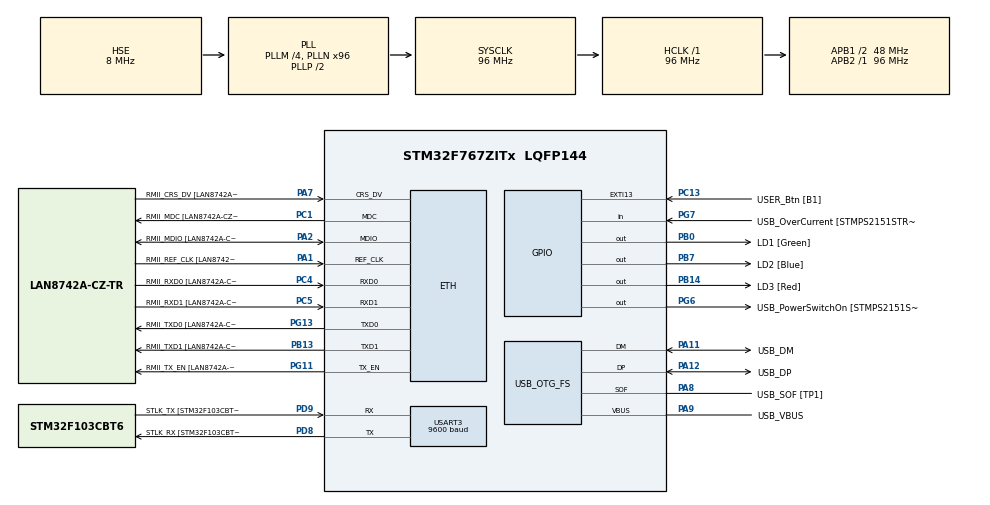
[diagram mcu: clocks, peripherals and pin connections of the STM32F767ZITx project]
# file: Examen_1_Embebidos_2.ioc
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ETH.MediaInterface=HAL_ETH_RMII_MODE
ETH.PHY_Name=LAN8742A_PHY_ADDRESS
ETH.PHY_Value=0
ETH.PhyAddress=0
Mcu.Family=STM32F7
Mcu.Name=STM32F767ZITx
Mcu.Package=LQFP144
NVIC.PriorityGroup=NVIC_PRIORITYGROUP_4
PA1.GPIO_Label=RMII_REF_CLK [LAN8742A-CZ-TR_REFCLK0]
PA1.Mode=RMII
PA1.Signal=ETH_REF_CLK
PA10.GPIO_Label=USB_ID
PA10.Signal=USB_OTG_FS_ID
PA11.GPIO_Label=USB_DM
PA11.Mode=Device_Only
PA11.Signal=USB_OTG_FS_DM
PA12.GPIO_Label=USB_DP
PA12.Mode=Device_Only
PA12.Signal=USB_OTG_FS_DP
PA13.GPIO_Label=TMS
PA13.Mode=Serial_Wire
PA13.Signal=SYS_JTMS-SWDIO
PA14.GPIO_Label=TCK
PA14.Mode=Serial_Wire
PA14.Signal=SYS_JTCK-SWCLK
PA2.GPIO_Label=RMII_MDIO [LAN8742A-CZ-TR_MDIO]
PA2.Mode=RMII
PA2.Signal=ETH_MDIO
PA7.GPIO_Label=RMII_CRS_DV [LAN8742A-CZ-TR_CRS_DV]
PA7.Mode=RMII
PA7.Signal=ETH_CRS_DV
PA8.GPIO_Label=USB_SOF [TP1]
PA8.Mode=Activate_SOF_FS
PA8.Signal=USB_OTG_FS_SOF
PA9.GPIO_Label=USB_VBUS
PA9.Mode=Activate_VBUS
PA9.Signal=USB_OTG_FS_VBUS
PB0.GPIO_Label=LD1 [Green]
PB0.Signal=GPIO_Output
PB13.GPIO_Label=RMII_TXD1 [LAN8742A-CZ-TR_TXD1]
PB13.Mode=RMII
PB13.Signal=ETH_TXD1
PB14.GPIO_Label=LD3 [Red]
PB14.Signal=GPIO_Output
PB3.GPIO_Label=SWO
PB3.Signal=SYS_JTDO-SWO
PB7.GPIO_Label=LD2 [Blue]
PB7.Signal=GPIO_Output
PC1.GPIO_Label=RMII_MDC [LAN8742A-CZ-TR_MDC]
PC1.Mode=RMII
PC1.Signal=ETH_MDC
PC13.GPIO_Label=USER_Btn [B1]
PC13.Signal=GPXTI13
PC14/OSC32_IN.Mode=LSE-External-Oscillator
PC14/OSC32_IN.Signal=RCC_OSC32_IN
PC15/OSC32_OUT.Mode=LSE-External-Oscillator
PC15/OSC32_OUT.Signal=RCC_OSC32_OUT
PC4.GPIO_Label=RMII_RXD0 [LAN8742A-CZ-TR_RXD0]
PC4.Mode=RMII
PC4.Signal=ETH_RXD0
PC5.GPIO_Label=RMII_RXD1 [LAN8742A-CZ-TR_RXD1]
PC5.Mode=RMII
PC5.Signal=ETH_RXD1
PD8.GPIO_Label=STLK_RX [STM32F103CBT6_PA3]
PD8.Mode=Asynchronous
PD8.Signal=USART3_TX
PD9.GPIO_Label=STLK_TX [STM32F103CBT6_PA2]
PD9.Mode=Asynchronous
PD9.Signal=USART3_RX
PG11.GPIO_Label=RMII_TX_EN [LAN8742A-CZ-TR_TXEN]
PG11.Mode=RMII
PG11.Signal=ETH_TX_EN
PG13.GPIO_Label=RMII_TXD0 [LAN8742A-CZ-TR_TXD0]
PG13.Mode=RMII
PG13.Signal=ETH_TXD0
PG6.GPIO_Label=USB_PowerSwitchOn [STMPS2151STR_EN]
PG6.Signal=GPIO_Output
PG7.GPIO_Label=USB_OverCurrent [STMPS2151STR_FAULT]
PG7.Signal=GPIO_Input
PH0/OSC_IN.GPIO_Label=MCO [STM32F103CBT6_PA8]
PH0/OSC_IN.Mode=HSE-External-Clock-Source
PH0/OSC_IN.Signal=RCC_OSC_IN
PH1/OSC_OUT.Mode=HSE-External-Clock-Source
PH1/OSC_OUT.Signal=RCC_OSC_OUT
ProjectManager.HeapSize=0x200
ProjectManager.StackSize=0x400
ProjectManager.TargetToolchain=STM32CubeIDE
RCC.48MHZClocksFreq_Value=24000000
RCC.AHBFreq_Value=96000000
RCC.APB1CLKDivider=RCC_HCLK_DIV2
RCC.APB1Freq_Value=48000000
RCC.APB1TimFreq_Value=96000000
RCC.APB2Freq_Value=96000000
RCC.APB2TimFreq_Value=96000000
RCC.CortexFreq_Value=96000000
RCC.HCLKFreq_Value=96000000
RCC.HSE_VALUE=8000000
RCC.HSI_VALUE=16000000
RCC.PLLM=4
RCC.PLLMUL=RCC_PLL_MUL9
RCC.PLLN=96
RCC.PLLQ=4
RCC.PRESCALERUSB=RCC_USBCLKSOURCE_PLL_DIV1_5
RCC.SYSCLKFreq_VALUE=96000000
RCC.SYSCLKSource=RCC_SYSCLKSOURCE_PLLCLK
RCC.SYSCLKSourceVirtual=RCC_SYSCLKSOURCE_PLLCLK
RCC.USBFreq_Value=48000000
RCC.VCOOutputFreq_Value=192000000
USART3.BaudRate=9600
USART3.VirtualMode-Asynchronous=VM_ASYNC
USB_OTG_FS.VirtualMode=Device_Only
board=NUCLEO-F767ZI

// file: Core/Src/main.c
/* USER CODE BEGIN Header */
/**
  ******************************************************************************
  * @file           : main.c
  * @brief          : Main program body
  ******************************************************************************
  * @attention
  *
  * Copyright (c) 2025 STMicroelectronics.
  * All rights reserved.
  *
  * This software is licensed under terms that can be found in the LICENSE file
  * in the root directory of this software component.
  * If no LICENSE file comes with this software, it is provided AS-IS.
  *
  ******************************************************************************
  */
/* USER CODE END Header */
#include "main.h"
#include "string.h"

/* USER CODE BEGIN PD */
#define DELAY 130
/* USER CODE END PD */

#if defined ( __ICCARM__ ) /*!< IAR Compiler */
#pragma location=0x2007c000
ETH_DMADescTypeDef  DMARxDscrTab[ETH_RX_DESC_CNT]; /* Ethernet Rx DMA Descriptors */
#pragma location=0x2007c0a0
ETH_DMADescTypeDef  DMATxDscrTab[ETH_TX_DESC_CNT]; /* Ethernet Tx DMA Descriptors */

#elif defined ( __CC_ARM )  /* MDK ARM Compiler */

__attribute__((at(0x2007c000))) ETH_DMADescTypeDef  DMARxDscrTab[ETH_RX_DESC_CNT]; /* Ethernet Rx DMA Descriptors */
__attribute__((at(0x2007c0a0))) ETH_DMADescTypeDef  DMATxDscrTab[ETH_TX_DESC_CNT]; /* Ethernet Tx DMA Descriptors */

#elif defined ( __GNUC__ ) /* GNU Compiler */

ETH_DMADescTypeDef DMARxDscrTab[ETH_RX_DESC_CNT] __attribute__((section(".RxDecripSection"))); /* Ethernet Rx DMA Descriptors */
ETH_DMADescTypeDef DMATxDscrTab[ETH_TX_DESC_CNT] __attribute__((section(".TxDecripSection")));   /* Ethernet Tx DMA Descriptors */
#endif

ETH_TxPacketConfig TxConfig;

ETH_HandleTypeDef heth;

UART_HandleTypeDef huart3;

PCD_HandleTypeDef hpcd_USB_OTG_FS;

void SystemClock_Config(void);
static void MX_GPIO_Init(void);
static void MX_ETH_Init(void);
static void MX_USART3_UART_Init(void);
static void MX_USB_OTG_FS_PCD_Init(void);

/* USER CODE BEGIN 0 */
void obtener_fibonacci(int num) {
int a = 0;
int b = 1;
int resultado = 0;
if (num == 1){
	num = 1;
}
else if (num != 1) {
	for (int i = 2; i <= num; i++) {
	        resultado = a + b;
	        a = b;
	        b = resultado;}
	num = resultado;
}
HAL_GPIO_WritePin(GPIOB, LD1_Pin, (resultado % 2 == 0));
HAL_GPIO_WritePin(GPIOB, LD2_Pin, (resultado % 2 != 0));
HAL_GPIO_WritePin(GPIOB, LD3_Pin, (resultado >= 10));

char buffer[6];  // Espacio para hasta 5 dígitos más el carácter nulo '\0'
int index = 0;
// Extraer los dígitos de num y almacenarlos en buffer en orden inverso
do {
    buffer[index++] = (num % 10) + '0';  // Extraemos el último dígito y lo convertimos a carácter
    num = num / 10;  // Eliminamos el último dígito dividiendo entre 10
} while (num > 0);  // Continuamos hasta que el número se reduzca a 0

// Invertir el orden de los dígitos en buffer para obtener el número correcto
for (int i = 0, j = index - 1; i < j; i++, j--) {
    char temp = buffer[i];
    buffer[i] = buffer[j];
    buffer[j] = temp;
}
buffer[index] = '\0';  // Agregar el carácter nulo para finalizar la cadena

// Enviar el número por UART
HAL_UART_Transmit(&huart3, (uint8_t*)buffer, index, HAL_MAX_DELAY);

// Enviar nueva línea
HAL_UART_Transmit(&huart3, (uint8_t*)"\r\n", 2, HAL_MAX_DELAY);
}
void mostrar_fibonacci_leds(int valor) {
    HAL_GPIO_WritePin(GPIOB, LD1_Pin, (valor % 2 == 0));
    HAL_GPIO_WritePin(GPIOB, LD2_Pin, (valor % 2 != 0));
    HAL_GPIO_WritePin(GPIOB, LD3_Pin, (valor >= 10));
}
void print_number(int num) {
    char buffer[6];  // Espacio para hasta 5 dígitos más el carácter nulo '\0'
    int index = 0;
    // Extraer los dígitos de num y almacenarlos en buffer en orden inverso
    do {
        buffer[index++] = (num % 10) + '0';  // Extraemos el último dígito y lo convertimos a carácter
        num = num / 10;  // Eliminamos el último dígito dividiendo entre 10
    } while (num > 0);  // Continuamos hasta que el número se reduzca a 0

    // Invertir el orden de los dígitos en buffer para obtener el número correcto
    for (int i = 0, j = index - 1; i < j; i++, j--) {
        char temp = buffer[i];
        buffer[i] = buffer[j];
        buffer[j] = temp;
    }
    buffer[index] = '\0';  // Agregar el carácter nulo para finalizar la cadena

    // Enviar el número por UART
    HAL_UART_Transmit(&huart3, (uint8_t*)buffer, index, HAL_MAX_DELAY);

    // Enviar nueva línea
    HAL_UART_Transmit(&huart3, (uint8_t*)"\r Fibonacci: ",12, HAL_MAX_DELAY);
}
/* USER CODE END 0 */

int main(void)
{

  /* MCU Configuration--------------------------------------------------------*/

  /* Reset of all peripherals, Initializes the Flash interface and the Systick. */
  HAL_Init();

  /* Configure the system clock */
  SystemClock_Config();

  /* Initialize all configured peripherals */
  MX_GPIO_Init();
  MX_ETH_Init();
  MX_USART3_UART_Init();
  MX_USB_OTG_FS_PCD_Init();
  /* USER CODE BEGIN 2 */
  int contador = 0;
  int button_pressed = 0;
  int last_contador = -1;
  /* USER CODE END 2 */

  /* Infinite loop */
  /* USER CODE BEGIN WHILE */
  while (1)
  {
	   if (HAL_GPIO_ReadPin(GPIOC, GPIO_PIN_13) == GPIO_PIN_RESET) {
	        if (!button_pressed) {
	            contador++;
	            HAL_Delay(DELAY);
	            if (contador > 7) {
	                contador = 0;
	            }
	            button_pressed = 1;
	        }
	    } else {
	        button_pressed = 0;
	    }
	    if (contador != last_contador) {
	        last_contador = contador;

	        switch (contador) {
	            case 0:
	            	print_number(contador);
	            	obtener_fibonacci(contador);

	                break;
	            case 1:
	            	print_number(contador);
	            	obtener_fibonacci(contador);

	                break;
	            case 2:
	            	print_number(contador);
	            	obtener_fibonacci(contador);

	                break;
	            case 3:
	            	print_number(contador);
	            	obtener_fibonacci(contador);

	                break;
	            case 4:
	            	print_number(contador);
	            	obtener_fibonacci(contador);

	                break;
	            case 5:
	            	print_number(contador);
	            	obtener_fibonacci(contador);

	                break;
	            case 6:
	            	print_number(contador);
	            	obtener_fibonacci(contador);

	                break;
	            case 7:
	            	print_number(contador);
	            	obtener_fibonacci(contador);

	                break;
	        }
	    }
    /* USER CODE END WHILE */

  }
}

void SystemClock_Config(void)
{
  RCC_OscInitTypeDef RCC_OscInitStruct = {0};
  RCC_ClkInitTypeDef RCC_ClkInitStruct = {0};

  /** Configure LSE Drive Capability
  */
  HAL_PWR_EnableBkUpAccess();

  /** Configure the main internal regulator output voltage
  */
  __HAL_RCC_PWR_CLK_ENABLE();
  __HAL_PWR_VOLTAGESCALING_CONFIG(PWR_REGULATOR_VOLTAGE_SCALE3);

  /** Initializes the RCC Oscillators according to the specified parameters
  * in the RCC_OscInitTypeDef structure.
  */
  RCC_OscInitStruct.OscillatorType = RCC_OSCILLATORTYPE_HSE;
  RCC_OscInitStruct.HSEState = RCC_HSE_BYPASS;
  RCC_OscInitStruct.PLL.PLLState = RCC_PLL_ON;
  RCC_OscInitStruct.PLL.PLLSource = RCC_PLLSOURCE_HSE;
  RCC_OscInitStruct.PLL.PLLM = 4;
  RCC_OscInitStruct.PLL.PLLN = 96;
  RCC_OscInitStruct.PLL.PLLP = RCC_PLLP_DIV2;
  RCC_OscInitStruct.PLL.PLLQ = 4;
  RCC_OscInitStruct.PLL.PLLR = 2;
  if (HAL_RCC_OscConfig(&RCC_OscInitStruct) != HAL_OK)
  {
    Error_Handler();
  }

  /** Activate the Over-Drive mode
  */
  if (HAL_PWREx_EnableOverDrive() != HAL_OK)
  {
    Error_Handler();
  }

  /** Initializes the CPU, AHB and APB buses clocks
  */
  RCC_ClkInitStruct.ClockType = RCC_CLOCKTYPE_HCLK|RCC_CLOCKTYPE_SYSCLK
                              |RCC_CLOCKTYPE_PCLK1|RCC_CLOCKTYPE_PCLK2;
  RCC_ClkInitStruct.SYSCLKSource = RCC_SYSCLKSOURCE_PLLCLK;
  RCC_ClkInitStruct.AHBCLKDivider = RCC_SYSCLK_DIV1;
  RCC_ClkInitStruct.APB1CLKDivider = RCC_HCLK_DIV2;
  RCC_ClkInitStruct.APB2CLKDivider = RCC_HCLK_DIV1;

  if (HAL_RCC_ClockConfig(&RCC_ClkInitStruct, FLASH_LATENCY_3) != HAL_OK)
  {
    Error_Handler();
  }
}

static void MX_ETH_Init(void)
{

   static uint8_t MACAddr[6];

  heth.Instance = ETH;
  MACAddr[0] = 0x00;
  MACAddr[1] = 0x80;
  MACAddr[2] = 0xE1;
  MACAddr[3] = 0x00;
  MACAddr[4] = 0x00;
  MACAddr[5] = 0x00;
  heth.Init.MACAddr = &MACAddr[0];
  heth.Init.MediaInterface = HAL_ETH_RMII_MODE;
  heth.Init.TxDesc = DMATxDscrTab;
  heth.Init.RxDesc = DMARxDscrTab;
  heth.Init.RxBuffLen = 1524;

  if (HAL_ETH_Init(&heth) != HAL_OK)
  {
    Error_Handler();
  }

  memset(&TxConfig, 0 , sizeof(ETH_TxPacketConfig));
  TxConfig.Attributes = ETH_TX_PACKETS_FEATURES_CSUM | ETH_TX_PACKETS_FEATURES_CRCPAD;
  TxConfig.ChecksumCtrl = ETH_CHECKSUM_IPHDR_PAYLOAD_INSERT_PHDR_CALC;
  TxConfig.CRCPadCtrl = ETH_CRC_PAD_INSERT;

}

static void MX_USART3_UART_Init(void)
{

  huart3.Instance = USART3;
  huart3.Init.BaudRate = 9600;
  huart3.Init.WordLength = UART_WORDLENGTH_8B;
  huart3.Init.StopBits = UART_STOPBITS_1;
  huart3.Init.Parity = UART_PARITY_NONE;
  huart3.Init.Mode = UART_MODE_TX_RX;
  huart3.Init.HwFlowCtl = UART_HWCONTROL_NONE;
  huart3.Init.OverSampling = UART_OVERSAMPLING_16;
  huart3.Init.OneBitSampling = UART_ONE_BIT_SAMPLE_DISABLE;
  huart3.AdvancedInit.AdvFeatureInit = UART_ADVFEATURE_NO_INIT;
  if (HAL_UART_Init(&huart3) != HAL_OK)
  {
    Error_Handler();
  }

}

static void MX_USB_OTG_FS_PCD_Init(void)
{

  hpcd_USB_OTG_FS.Instance = USB_OTG_FS;
  hpcd_USB_OTG_FS.Init.dev_endpoints = 6;
  hpcd_USB_OTG_FS.Init.speed = PCD_SPEED_FULL;
  hpcd_USB_OTG_FS.Init.dma_enable = DISABLE;
  hpcd_USB_OTG_FS.Init.phy_itface = PCD_PHY_EMBEDDED;
  hpcd_USB_OTG_FS.Init.Sof_enable = ENABLE;
  hpcd_USB_OTG_FS.Init.low_power_enable = DISABLE;
  hpcd_USB_OTG_FS.Init.lpm_enable = DISABLE;
  hpcd_USB_OTG_FS.Init.vbus_sensing_enable = ENABLE;
  hpcd_USB_OTG_FS.Init.use_dedicated_ep1 = DISABLE;
  if (HAL_PCD_Init(&hpcd_USB_OTG_FS) != HAL_OK)
  {
    Error_Handler();
  }

}

static void MX_GPIO_Init(void)
{
  GPIO_InitTypeDef GPIO_InitStruct = {0};

  /* GPIO Ports Clock Enable */
  __HAL_RCC_GPIOC_CLK_ENABLE();
  __HAL_RCC_GPIOH_CLK_ENABLE();
  __HAL_RCC_GPIOA_CLK_ENABLE();
  __HAL_RCC_GPIOB_CLK_ENABLE();
  __HAL_RCC_GPIOD_CLK_ENABLE();
  __HAL_RCC_GPIOG_CLK_ENABLE();

  /*Configure GPIO pin Output Level */
  HAL_GPIO_WritePin(GPIOB, LD1_Pin|LD3_Pin|LD2_Pin, GPIO_PIN_RESET);

  /*Configure GPIO pin Output Level */
  HAL_GPIO_WritePin(USB_PowerSwitchOn_GPIO_Port, USB_PowerSwitchOn_Pin, GPIO_PIN_RESET);

  /*Configure GPIO pin : USER_Btn_Pin */
  GPIO_InitStruct.Pin = USER_Btn_Pin;
  GPIO_InitStruct.Mode = GPIO_MODE_IT_RISING;
  GPIO_InitStruct.Pull = GPIO_NOPULL;
  HAL_GPIO_Init(USER_Btn_GPIO_Port, &GPIO_InitStruct);

  /*Configure GPIO pins : LD1_Pin LD3_Pin LD2_Pin */
  GPIO_InitStruct.Pin = LD1_Pin|LD3_Pin|LD2_Pin;
  GPIO_InitStruct.Mode = GPIO_MODE_OUTPUT_PP;
  GPIO_InitStruct.Pull = GPIO_NOPULL;
  GPIO_InitStruct.Speed = GPIO_SPEED_FREQ_LOW;
  HAL_GPIO_Init(GPIOB, &GPIO_InitStruct);

  /*Configure GPIO pin : USB_PowerSwitchOn_Pin */
  GPIO_InitStruct.Pin = USB_PowerSwitchOn_Pin;
  GPIO_InitStruct.Mode = GPIO_MODE_OUTPUT_PP;
  GPIO_InitStruct.Pull = GPIO_NOPULL;
  GPIO_InitStruct.Speed = GPIO_SPEED_FREQ_LOW;
  HAL_GPIO_Init(USB_PowerSwitchOn_GPIO_Port, &GPIO_InitStruct);

  /*Configure GPIO pin : USB_OverCurrent_Pin */
  GPIO_InitStruct.Pin = USB_OverCurrent_Pin;
  GPIO_InitStruct.Mode = GPIO_MODE_INPUT;
  GPIO_InitStruct.Pull = GPIO_NOPULL;
  HAL_GPIO_Init(USB_OverCurrent_GPIO_Port, &GPIO_InitStruct);

}

void Error_Handler(void)
{
  __disable_irq();
  while (1)
  {
  }
}
